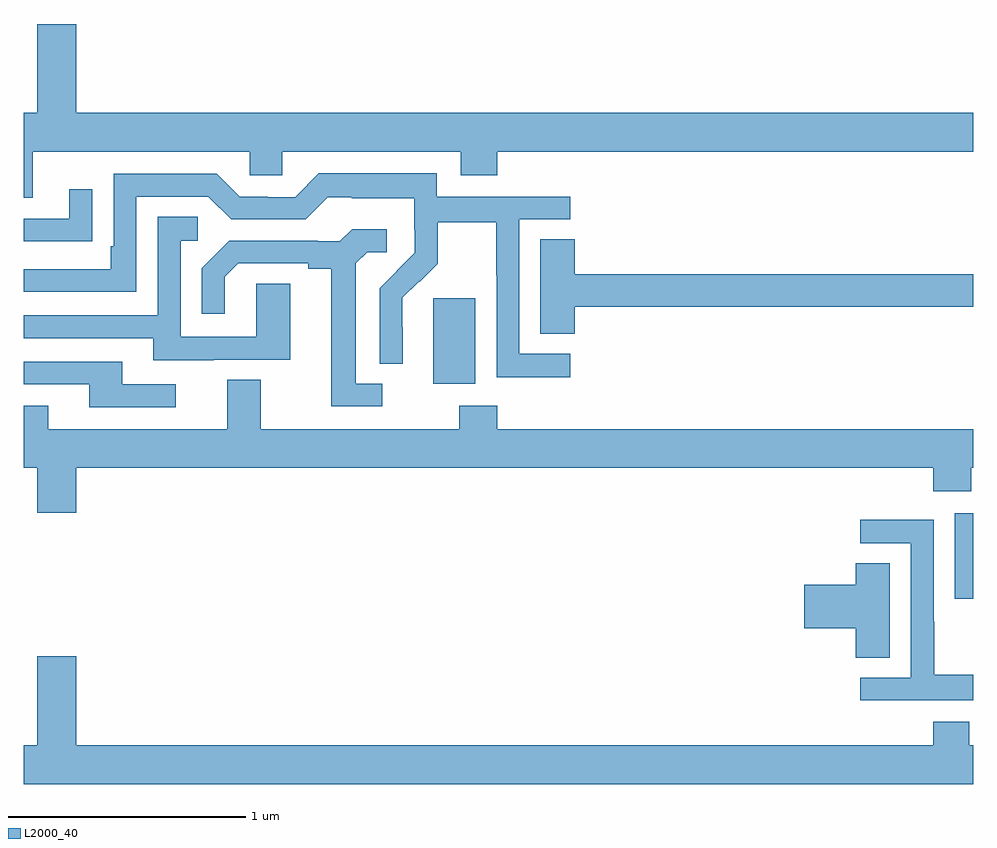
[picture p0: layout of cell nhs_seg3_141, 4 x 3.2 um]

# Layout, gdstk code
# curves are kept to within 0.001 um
import gdstk
lib = gdstk.Library(unit=1e-6, precision=1e-09)
def R(c, l, rs):  # rectangles x0, y0, x1, y1
    for r in rs: c.add(gdstk.rectangle(r[:2], r[2:], *l))
def P(c, l, *ps):  # polygons
    for p in ps: c.add(gdstk.Polygon(p, *l))
L2000_40 = (2000, 40)

nhs_seg3_141 = lib.new_cell('nhs_seg3_141')
R(nhs_seg3_141, L2000_40, [(120.923,709.689,121,710.05), (118.724,710.594,118.903,710.955)])
P(nhs_seg3_141, L2000_40, [(117.037,711.572),(117.951,711.572),(117.951,711.474),(118.089,711.474),(118.089,711.572),(118.841,711.572),(118.841,711.473),(118.994,711.473),(118.994,711.572),(121,711.572),(121,711.736),(117.22,711.736),(117.22,712.111),(117.056,712.111),(117.056,711.736),(117,711.736),(117,711.378),(117.037,711.378)],
  [(119.302,710.721),(119.088,710.721),(119.088,711.288),(119.302,711.288),(119.302,711.384),(118.74,711.384),(118.74,711.481),(118.243,711.481),(118.143,711.381),(118.028,711.381),(118.028,711.384),(117.909,711.384),(117.813,711.48),(117.378,711.48),(117.378,711.175),(117.365,711.175),(117.365,711.078),(117,711.078),(117,710.982),(117.474,710.982),(117.474,711.384),(117.777,711.384),(117.873,711.288),(118.188,711.288),(118.281,711.381),(118.381,711.381),(118.381,711.377),(118.644,711.377),(118.644,711.243),(118.646,711.243),(118.646,711.146),(118.5,710.998),(118.5,710.68),(118.596,710.68),(118.595,710.957),(118.665,711.027),(118.668,711.024),(118.745,711.101),(118.745,711.276),(118.99,711.276),(118.99,711.052),(118.992,711.052),(118.992,710.623),(119.302,710.623)],
  [(117.185,711.196),(117.287,711.196),(117.287,711.415),(117.191,711.415),(117.191,711.291),(117,711.291),(117,711.195),(117.185,711.195)],
  [(117.799,710.697),(118.123,710.697),(118.123,711.017),(117.978,711.017),(117.978,710.793),(117.66,710.793),(117.66,711.198),(117.733,711.198),(117.733,711.299),(117.564,711.299),(117.564,710.883),(117,710.883),(117,710.787),(117.545,710.787),(117.545,710.693),(117.799,710.693)],
  [(118.51,710.595),(118.399,710.595),(118.399,711.103),(118.446,711.15),(118.528,711.15),(118.528,711.247),(118.384,711.247),(118.332,711.195),(118.238,711.195),(118.238,711.198),(117.866,711.198),(117.75,711.082),(117.75,710.889),(117.847,710.889),(117.847,711.045),(117.904,711.102),(118.199,711.102),(118.199,711.08),(118.295,711.08),(118.295,710.499),(118.51,710.499)],
  [(119.321,710.92),(121,710.92),(121,711.056),(119.321,711.056),(119.321,711.203),(119.177,711.203),(119.177,710.806),(119.321,710.806)],
  [(117.64,710.592),(117.415,710.592),(117.415,710.688),(117,710.688),(117,710.592),(117.275,710.592),(117.275,710.496),(117.64,710.496)],
  [(117.22,710.24),(120.833,710.24),(120.833,710.141),(120.993,710.141),(120.993,710.24),(121,710.24),(121,710.404),(118.994,710.404),(118.994,710.503),(118.834,710.503),(118.834,710.404),(117.997,710.404),(117.997,710.612),(117.857,710.612),(117.857,710.404),(117.103,710.404),(117.103,710.503),(117,710.503),(117,710.24),(117.056,710.24),(117.056,710.052),(117.22,710.052)],
  [(121,709.369),(120.837,709.369),(120.837,709.592),(120.834,709.592),(120.834,710.022),(120.525,710.022),(120.525,709.923),(120.738,709.923),(120.738,709.356),(120.525,709.356),(120.525,709.26),(121,709.26)],
  [(120.649,709.838),(120.506,709.838),(120.506,709.748),(120.288,709.748),(120.288,709.565),(120.506,709.565),(120.506,709.441),(120.649,709.441)],
  [(121,709.072),(120.985,709.072),(120.985,709.171),(120.833,709.171),(120.833,709.072),(117.22,709.072),(117.22,709.447),(117.056,709.447),(117.056,709.072),(117,709.072),(117,708.908),(121,708.908)])

lib.write_gds('nhs_seg3_141.gds')
